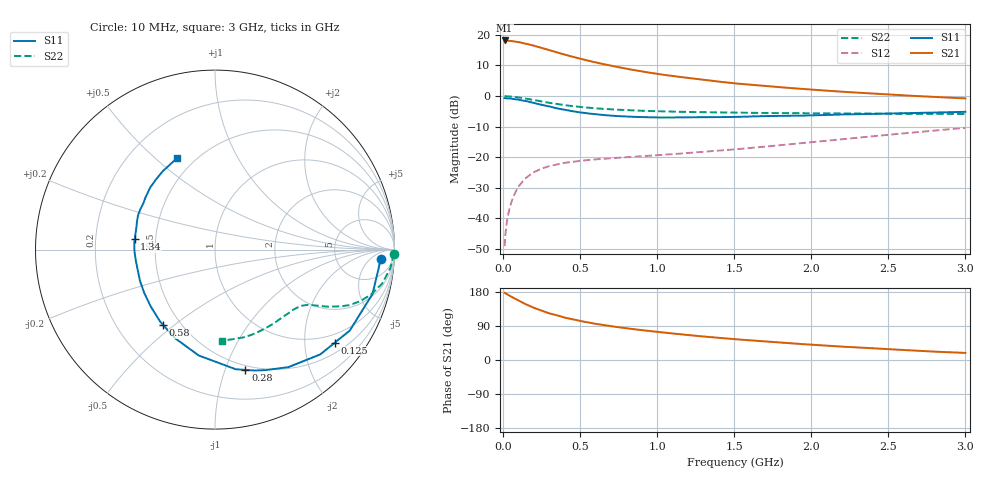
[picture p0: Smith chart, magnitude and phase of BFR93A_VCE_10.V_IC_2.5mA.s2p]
! Infineon Technologies  Discrete & RF Semiconductors
! BFR93A
! VCE =  10. V,  IC =  2.5 mA
! Common Emitter S-Parameters:  Nov 2015
# GHz  S  MA  R  50
!  f  S11  S21  S12  S22
! GHz  MAG  ANG  MAG  ANG  MAG  ANG  MAG  ANG
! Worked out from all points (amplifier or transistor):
!   180 points, 10 MHz to 3 GHz, reference 50 ohm
!   highest |S21| = 18.2 dB at 10 MHz (marker M1)
!   |S21| within 3 dB of that: start of sweep to 289.4 MHz
!   unconditionally stable (mu >= 1): 947 MHz to 2.462 GHz
!   at 160 MHz: K = 0.22, MSG = 21.7 dB, |S12| = -26.4 dB
!   at 1.22 GHz: K = 1.11, MAG = 10.2 dB, |S12| = -18.6 dB
!   at 3 GHz: K = 0.89, MSG = 4.8 dB, |S12| = -10.4 dB
!   S11 on the Smith chart (normalised r, x): 10 MHz: 17, -12; 125 MHz: 0.75, -2.74; 280 MHz: 0.46, -1.18; 580 MHz: 0.40, -0.46; 1.34 GHz: 0.38, +0.05; 3 GHz: 0.40, +0.59
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0.01  0.9248 -3.2  8.108 177.3  0.0035 87.0  0.9959 -1.3
0.025  0.9154 -7.9  8.077 173.8  0.0088 83.5  0.9907 -3.0
0.045  0.911 -14.2  8.005 168.9  0.0154 81.5  0.9839 -5.4
0.1  0.876 -31.0  7.65 157.0  0.033 73.5  0.9512 -11.4
0.125  0.8455 -37.8  7.377 152.0  0.0394 69.0  0.9281 -13.6
0.15  0.8275 -44.9  7.164 146.6  0.046 65.8  0.9065 -15.9
0.2  0.7721 -58.0  6.658 137.7  0.0568 60.3  0.8605 -19.4
0.24  0.7283 -67.2  6.229 131.4  0.0634 56.4  0.8242 -21.6
0.28  0.6912 -75.8  5.829 125.9  0.0689 53.4  0.7901 -23.3
0.3  0.6763 -80.2  5.642 123.1  0.0714 52.2  0.7735 -24.1
0.4  0.597 -98.7  4.751 111.8  0.0809 47.2  0.7082 -26.7
0.5  0.542 -114.1  4.073 102.8  0.0871 44.6  0.6621 -28.3
0.52  0.5324 -116.6  3.962 101.5  0.0881 44.3  0.6555 -28.5
0.58  0.5099 -124.4  3.643 97.1  0.0911 43.6  0.6356 -29.3
0.7  0.4784 -138.3  3.128 89.1  0.0961 43.4  0.6052 -30.6
0.8  0.4625 -148.3  2.796 83.6  0.0996 44.1  0.5879 -31.8
1.02  0.4448 -166.7  2.264 73.3  0.1085 46.6  0.5624 -34.8
1.34  0.451 172.7  1.791 60.7  0.1243 51.6  0.5421 -40.5
1.52  0.4559 163.5  1.598 54.5  0.1353 54.4  0.5338 -44.2
2.02  0.4843 143.0  1.264 39.9  0.1772 59.7  0.5215 -56.1
2.52  0.5179 126.4  1.052 28.2  0.2348 60.6  0.5144 -70.0
3  0.5514 112.6  0.915 18.7  0.3017 58.1  0.508 -85.7
